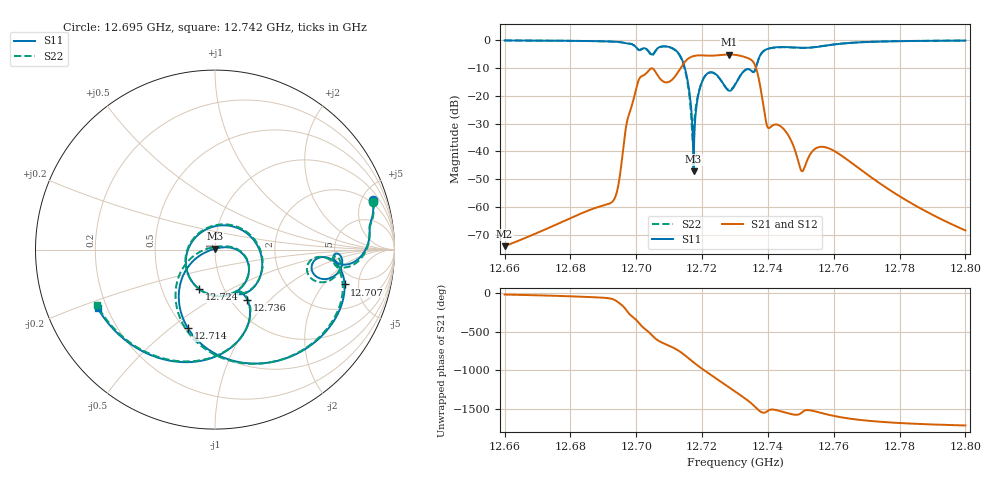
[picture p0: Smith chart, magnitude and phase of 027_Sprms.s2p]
! TOUCHSTONE file generated by CST MICROWAVE STUDIO
! Date and time: Wed Jul 31 12:00:37 2024
! Project name: WaveGuide_BPF-Ver4.1_U-shape_Ku_T3_C4_CWA_2.cst
! Parameters = {cavity_h=16; cavity_l0=10; cavity_l1=15.1902; cavity_l2=16.8296; cavity_l3=17.1128; cavity_l4=17.3052; cavity_l5=17.1615; cavity_l6=17.6409; cavity_r=2.5; cavity_screw_l=0.5; cavity_screw_r=1.5; cavity_w=8; iris_h00=0; iris_h01=8.821; iris_h112=0; iris_h12=5.5909; iris_h211=3.6672; i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
! Header version: 2018
! Port assignment regex: !\s*Touchstone port\s*([0-9]+)\s*=\s*(CST MWS port|CST DS port)\s*([0-9]+|Zmin|Zmax)\s*\(\"(.*)\"\)(\s*mode\s*([0-9]+))?.*
! Touchstone port assignment:
! Touchstone port 1 = CST MWS port 1 ("")
! Touchstone port 2 = CST MWS port 2 ("")
# GHz S RI R 50
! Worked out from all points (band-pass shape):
!   5001 points, 12.66 GHz to 12.8 GHz, reference 50 ohm
!   highest |S21| = -5.21 dB at 12.728 GHz (marker M1); lowest = -74.1 dB at 12.66 GHz (marker M2)
!   |S21| within 3 dB of the highest: 12.71453 GHz to 12.73573 GHz (21.21 MHz wide, 0.167 % of centre)
!   lowest |S11| = -47.2 dB at 12.717 GHz (marker M3), VSWR 1.01, Z = 49.9 + j0.429 ohm
!   |S11| at or under -10 dB: 12.71475 GHz to 12.73635 GHz (21.6 MHz wide, 0.17 % of centre)
!   |S22| runs from -36.9 to -0.2 dB; largest |S21 - S12| = 1e-09
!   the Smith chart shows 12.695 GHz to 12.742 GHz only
!   S11 on the Smith chart (normalised r, x): 12.695 GHz: 1.63, +6.05; 12.707 GHz: 3.84, -3.37; 12.714 GHz: 0.52, -0.58; 12.724 GHz: 0.77, -0.36; 12.736 GHz: 1.18, -0.75; 12.742 GHz: 0.16, -0.23
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12.66  0.2837 0.9407  0.000185 -6.95e-05  0.000185 -6.95e-05  0.2869 0.9397
12.68335  0.6726 0.6902  0.000508 -0.000578  0.000508 -0.000578  0.677 0.6856
12.69469  0.8794 0.278  -0.00164 -0.0022  -0.00164 -0.0022  0.8819 0.266
12.7006  0.6703 -0.0642  0.1731 -0.0569  0.1731 -0.0569  0.6632 -0.0793
12.70668  0.7113 -0.1371  -0.0493 0.2186  -0.0493 0.2186  0.7006 -0.1384
12.7071  0.7217 -0.194  -0.00824 0.2067  -0.00824 0.2067  0.7118 -0.1976
12.71379  -0.1515 -0.4365  0.1898 -0.2769  0.1898 -0.2769  -0.1831 -0.4065
12.7174  -0.00086 0.0043  -0.5142 -0.00397  -0.5142 -0.00397  0.0136 0.0163
12.72048  0.1869 -0.0864  0.0677 0.5243  0.0677 0.5243  0.1879 -0.0844
12.72437  -0.0886 -0.2202  0.4564 -0.2679  0.4564 -0.2679  -0.0941 -0.2145
12.72826  -0.0712 0.0997  -0.449 -0.3153  -0.449 -0.3153  -0.0707 0.1056
12.73  0.0814 0.1326  -0.5196 0.1534  -0.5196 0.1534  0.0783 0.1389
12.73274  0.263 -0.0897  0.0695 0.495  0.0695 0.495  0.2659 -0.0766
12.73647  0.1808 -0.2809  0.1849 -0.2436  0.1849 -0.2436  0.1847 -0.2803
12.73966  -0.3387 -0.5951  -0.00407 -0.0295  -0.00407 -0.0295  -0.3426 -0.5887
12.74162  -0.6546 -0.3245  0.00946 -0.0281  0.00946 -0.0281  -0.6575 -0.3091
12.74809  -0.2085 0.7045  -0.00816 -0.00742  -0.00816 -0.00742  -0.1649 0.7117
12.75038  0.2671 0.6739  -0.00121 -0.00422  -0.00121 -0.00422  0.3133 0.6514
12.75335  0.6962 0.2336  0.000796 -0.00972  0.000796 -0.00972  0.7133 0.1831
12.76167  0.1115 -0.8449  -0.00871 -0.00196  -0.00871 -0.00196  0.0809 -0.852
12.77668  -0.8409 -0.4355  -0.00112 0.00175  -0.00112 0.00175  -0.847 -0.4253
12.8  -0.9603 0.1857  4.93e-05 0.000375  4.93e-05 0.000375  -0.9593 0.1916
